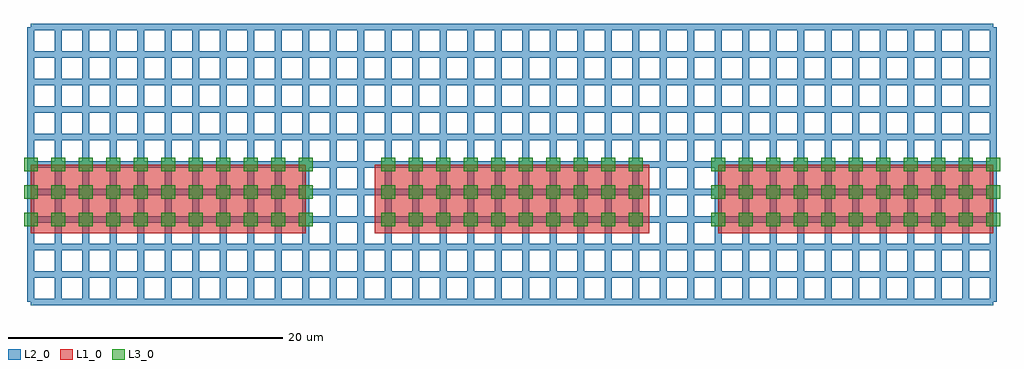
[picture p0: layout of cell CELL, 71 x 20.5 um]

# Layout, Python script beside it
import gdspy

# Create a new GDSII library
lib = gdspy.GdsLibrary()

# Create a cell
cell = lib.new_cell('CELL')

# Define layers
ACTIVE_LAYER = 1
POLY_LAYER = 2
CONTACT_LAYER = 3

# Active regions
# Dimensions: 20 µm x 5 µm
# Positioned horizontally with 5 µm spacing between them
active_regions = []
# First rectangle
active1 = gdspy.Rectangle((0, 0), (20, 5), layer=ACTIVE_LAYER)
active_regions.append(active1)
# Second rectangle
active2 = gdspy.Rectangle((25, 0), (45, 5), layer=ACTIVE_LAYER)
active_regions.append(active2)
# Third rectangle
active3 = gdspy.Rectangle((50, 0), (70, 5), layer=ACTIVE_LAYER)
active_regions.append(active3)

# Add active regions to cell
for active in active_regions:
    cell.add(active)

# Polysilicon gate pattern
# Grid-like structure of vertical and horizontal lines
# Line width: 0.5 µm
poly_lines = []

# Grid parameters
x_min, x_max = 0, 70   # x range
y_min, y_max = -5, 15  # y range to cover area beyond active regions

line_width = 0.5

# Vertical lines every 2 µm
x_positions = [x for x in range(int(x_min), int(x_max)+1, 2)]
for x in x_positions:
    x0 = x - line_width / 2
    x1 = x + line_width / 2
    poly_line = gdspy.Rectangle((x0, y_min), (x1, y_max), layer=POLY_LAYER)
    cell.add(poly_line)

# Horizontal lines every 2 µm
y_positions = [y for y in range(int(y_min), int(y_max)+1, 2)]
for y in y_positions:
    y0 = y - line_width / 2
    y1 = y + line_width / 2
    poly_line = gdspy.Rectangle((x_min, y0), (x_max, y1), layer=POLY_LAYER)
    cell.add(poly_line)

# Contact holes
# 1 µm x 1 µm squares at intersections of polysilicon grid and active regions
contact_size = 1.0

for x in x_positions:
    for y in y_positions:
        # Check if intersection point is within any active region
        point_in_active = False
        for active in active_regions:
            (ax0, ay0), (ax1, ay1) = active.get_bounding_box()
            if ax0 <= x <= ax1 and ay0 <= y <= ay1:
                point_in_active = True
                break
        if point_in_active:
            # Place a contact hole centered at (x, y)
            x0 = x - contact_size / 2
            x1 = x + contact_size / 2
            y0 = y - contact_size / 2
            y1 = y + contact_size / 2
            contact = gdspy.Rectangle((x0, y0), (x1, y1), layer=CONTACT_LAYER)
            cell.add(contact)

# Save the GDSII file
lib.write_gds('layout_design.gds')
